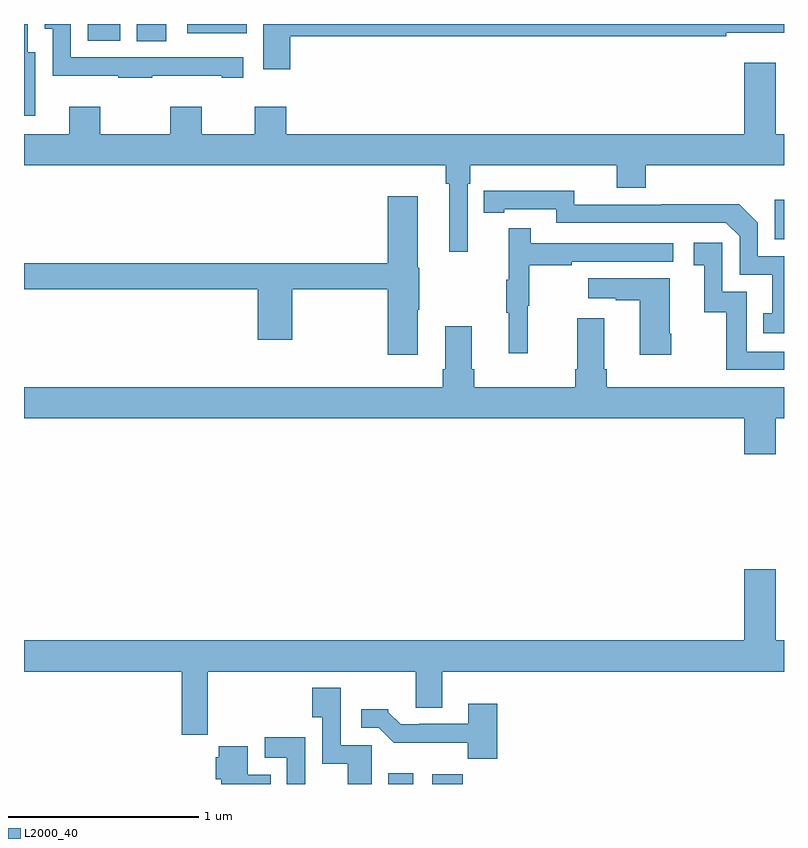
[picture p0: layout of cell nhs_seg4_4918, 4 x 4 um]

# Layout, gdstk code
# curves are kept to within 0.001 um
import gdstk
lib = gdstk.Library(unit=1e-6, precision=1e-09)
def R(c, l, rs):  # rectangles x0, y0, x1, y1
    for r in rs: c.add(gdstk.rectangle(r[:2], r[2:], *l))
def P(c, l, *ps):  # polygons
    for p in ps: c.add(gdstk.Polygon(p, *l))
L2000_40 = (2000, 40)

nhs_seg4_4918 = lib.new_cell('nhs_seg4_4918')
R(nhs_seg4_4918, L2000_40, [(378.917,790.9,379.048,790.957), (379.148,790.9,379.31,790.951), (380.952,793.767,381,793.975), (377.594,794.809,377.749,794.9), (377.336,794.813,377.506,794.9), (377.859,794.852,378.172,794.9)])
P(nhs_seg4_4918, L2000_40, [(378.401,794.836),(380.696,794.836),(380.696,794.855),(381,794.855),(381,794.9),(378.26,794.9),(378.26,794.661),(378.401,794.661)],
  [(377.675,794.627),(378.041,794.627),(378.041,794.616),(378.154,794.616),(378.154,794.724),(377.247,794.724),(377.247,794.9),(377.108,794.9),(377.108,794.876),(377.151,794.876),(377.151,794.627),(377.497,794.627),(377.497,794.616),(377.675,794.616)],
  [(377.059,794.752),(377.019,794.752),(377.019,794.9),(377,794.9),(377,794.418),(377.059,794.418)],
  [(379.219,794.06),(379.238,794.06),(379.238,793.701),(379.335,793.701),(379.335,794.06),(379.349,794.06),(379.349,794.156),(380.12,794.156),(380.12,794.039),(380.273,794.039),(380.273,794.156),(381,794.156),(381,794.32),(380.956,794.32),(380.956,794.695),(380.792,794.695),(380.792,794.32),(378.379,794.32),(378.379,794.464),(378.215,794.464),(378.215,794.32),(377.935,794.32),(377.935,794.464),(377.771,794.464),(377.771,794.32),(377.401,794.32),(377.401,794.464),(377.237,794.464),(377.237,794.32),(377,794.32),(377,794.156),(379.219,794.156)],
  [(381,793.677),(380.862,793.677),(380.862,793.854),(380.764,793.952),(380.356,793.952),(380.356,793.95),(379.896,793.95),(379.896,794.023),(379.42,794.022),(379.42,793.906),(379.528,793.906),(379.528,793.926),(379.8,793.926),(379.8,793.854),(380.694,793.854),(380.766,793.782),(380.766,793.581),(380.939,793.581),(380.939,793.377),(380.89,793.377),(380.89,793.272),(381,793.272)],
  [(379.072,793.396),(379.08,793.396),(379.08,793.617),(379.072,793.617),(379.072,793.993),(378.914,793.993),(378.914,793.64),(377,793.64),(377,793.504),(378.23,793.504),(378.23,793.239),(378.413,793.239),(378.413,793.504),(378.914,793.504),(378.914,793.158),(379.072,793.158)],
  [(379.652,793.416),(379.66,793.416),(379.66,793.63),(379.883,793.63),(379.883,793.65),(380.416,793.65),(380.416,793.746),(379.667,793.746),(379.667,793.825),(379.55,793.825),(379.55,793.553),(379.539,793.553),(379.539,793.379),(379.55,793.379),(379.55,793.167),(379.652,793.167)],
  [(381,793.176),(380.805,793.176),(380.805,793.491),(380.676,793.491),(380.676,793.75),(380.526,793.75),(380.526,793.629),(380.579,793.629),(380.579,793.383),(380.697,793.383),(380.697,793.08),(381,793.08)],
  [(380.406,793.27),(380.398,793.27),(380.398,793.561),(379.971,793.561),(379.971,793.457),(380.114,793.457),(380.114,793.447),(380.24,793.447),(380.24,793.158),(380.406,793.158)],
  [(380.956,792.824),(381,792.824),(381,792.988),(380.066,792.988),(380.066,793.084),(380.053,793.084),(380.053,793.351),(379.913,793.351),(379.913,793.084),(379.901,793.084),(379.901,792.988),(379.37,792.988),(379.37,793.084),(379.357,793.084),(379.357,793.309),(379.217,793.309),(379.217,793.084),(379.205,793.084),(379.205,792.988),(377,792.988),(377,792.824),(380.792,792.824),(380.792,792.636),(380.956,792.636)],
  [(377.966,791.492),(379.061,791.492),(379.061,791.302),(379.201,791.302),(379.201,791.492),(381,791.492),(381,791.656),(380.956,791.656),(380.956,792.031),(380.792,792.031),(380.792,791.656),(377,791.656),(377,791.492),(377.83,791.492),(377.83,791.16),(377.966,791.16)],
  [(378.829,791.103),(378.666,791.103),(378.666,791.407),(378.518,791.407),(378.518,791.251),(378.57,791.251),(378.57,791.006),(378.704,791.006),(378.704,790.9),(378.829,790.9)],
  [(379.49,791.323),(379.337,791.323),(379.337,791.217),(379.081,791.217),(379.081,791.214),(378.982,791.214),(378.918,791.278),(378.918,791.293),(378.774,791.293),(378.774,791.196),(378.867,791.196),(378.946,791.118),(379.335,791.118),(379.335,791.033),(379.49,791.033)],
  [(378.48,791.146),(378.267,791.146),(378.267,791.037),(378.384,791.037),(378.384,790.9),(378.48,790.9)],
  [(378.299,790.948),(378.178,790.948),(378.178,791.098),(378.026,791.098),(378.026,791.04),(378.008,791.04),(378.008,790.926),(378.038,790.926),(378.038,790.9),(378.299,790.9)])

lib.write_gds('nhs_seg4_4918.gds')
